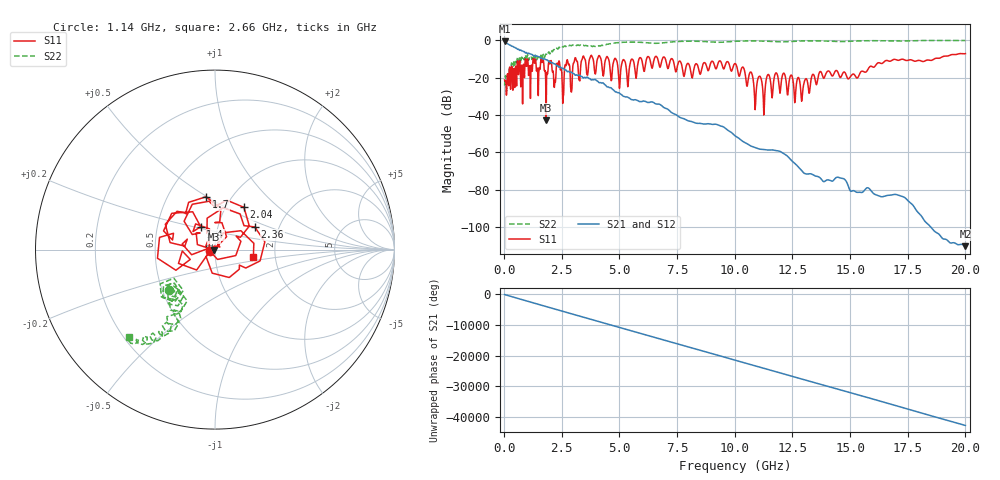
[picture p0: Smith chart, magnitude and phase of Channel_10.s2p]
! Created Sun Jun 24 21:07:10 2012
# hz S ma R 100
! 2 Port Network Data from SP1.SP block
! freq  magS11  angS11  magS21  angS21  magS12  angS12  magS22  angS22
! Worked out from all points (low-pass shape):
!   1000 points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, 20 MHz to 20 GHz, reference 100 ohm
!   highest |S21| = -0.67 dB at 20 MHz (marker M1); lowest = -110.1 dB at 20 GHz (marker M2)
!   |S21| within 3 dB of the highest: start of sweep to 411.9 MHz
!   lowest |S11| = -42.9 dB at 1.82 GHz (marker M3), VSWR 1.01, Z = 98.6 - j0.225 ohm
!   |S11| at or under -10 dB: 1.28 GHz to 3.064 GHz (1.784 GHz wide, 82.1 % of centre); 4.84 GHz to 5.85 GHz (1.01 GHz wide, 18.9 % of centre); 7.288 GHz to 18.65 GHz (11.36 GHz wide, 87.6 % of centre)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
!   |S22| runs from -27.4 to -0.1 dB; largest |S21 - S12| = 0.00019
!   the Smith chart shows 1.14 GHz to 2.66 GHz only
!   S11 on the Smith chart (normalised r, x): 1.14 GHz: 0.95, -0.01; 1.4 GHz: 0.83, +0.22; 1.7 GHz: 0.76, +0.49; 2.04 GHz: 1.21, +0.62; 2.36 GHz: 1.50, +0.41; 2.66 GHz: 1.54, -0.13
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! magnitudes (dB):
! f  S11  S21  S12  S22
! 20 MHz  -21.3  -0.7  -0.7  -24.2
! 500 MHz  -13.9  -4.2  -4.2  -11.3
! 1.14 GHz  -31.1  -7.3  -7.3  -9.3
! 1.4 GHz  -16.5  -8.4  -8.4  -10.7
! 1.7 GHz  -10.5  -10.2  -10.2  -7.6
! 1.82 GHz  -42.9  -10.4  -10.4  -7.5
! 2.04 GHz  -10.9  -12.2  -12.2  -5.5
! 2.18 GHz  -25.2  -12.6  -12.6  -5.1
! 2.36 GHz  -11.9  -14.2  -14.2  -4.1
! 2.52 GHz  -24.0  -15.0  -15.0  -3.5
! 2.66 GHz  -13.2  -15.9  -15.9  -3.3
! 3.36 GHz  -10.8  -19.4  -19.4  -2.9
! 5.18 GHz  -10.4  -30.0  -30.0  -1.1
! 5.36 GHz  -24.9  -30.5  -30.5  -1.0
! 6.68 GHz  -10.9  -34.2  -34.2  -1.6
! 10.02 GHz  -12.5  -51.2  -51.2  -0.6
! 11.26 GHz  -40.0  -58.4  -58.4  -0.5
! 11.44 GHz  -18.4  -58.7  -58.7  -0.6
! 12.92 GHz  -30.8  -70.0  -70.0  -0.4
! 13.34 GHz  -19.3  -71.6  -71.7  -0.3
! 16.68 GHz  -11.2  -82.9  -83.0  -0.4
! 20 GHz  -7.2  -110.1  -110.2  -0.2
